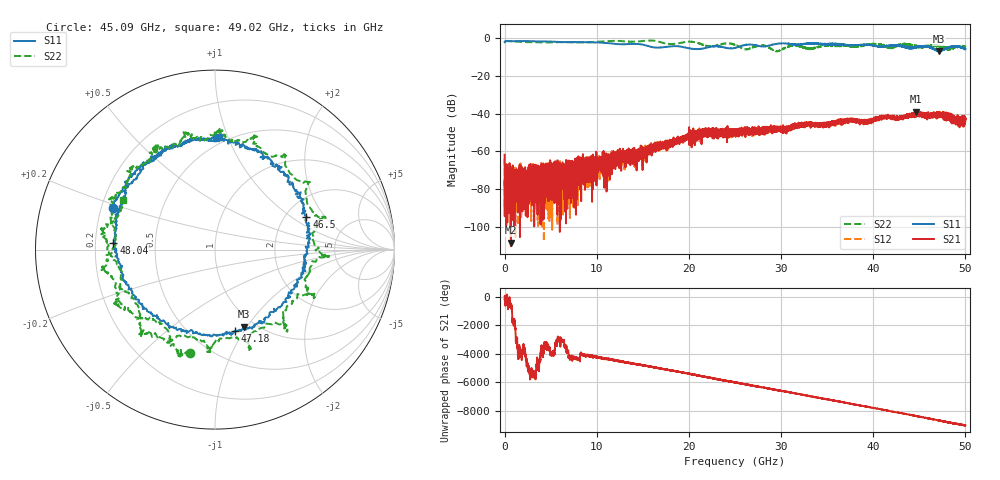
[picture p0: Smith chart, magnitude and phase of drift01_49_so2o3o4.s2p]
!Created with skrf (http://scikit-rf.org).
# Hz S RI R 50.0
!freq ReS11 ImS11 ReS21 ImS21 ReS12 ImS12 ReS22 ImS22
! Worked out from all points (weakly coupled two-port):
!   10001 points, 300 kHz to 50 GHz, reference 50 ohm
!   highest |S21| = -38.84 dB at 44.63 GHz (marker M1); lowest = -108.4 dB at 695.3 MHz (marker M2)
!   lowest |S11| = -6.8 dB at 47.15 GHz (marker M3), VSWR 2.69, Z = 44.5 - j48.3 ohm
!   |S11| at or under -10 dB: nowhere
!   |S22| runs from -6.9 to -1.1 dB; largest |S21 - S12| = 0.0037
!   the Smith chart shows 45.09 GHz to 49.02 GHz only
!   S11 on the Smith chart (normalised r, x): 45.09 GHz: 0.25, +0.19; 46.5 GHz: 2.58, +1.34; 47.18 GHz: 0.78, -0.91; 48.04 GHz: 0.28, +0.03; 49.02 GHz: 0.45, +0.93
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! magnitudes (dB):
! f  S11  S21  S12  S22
! 300 kHz  -2.0  -61.7  -63.6  -1.3
! 260.3 MHz  -1.4  -90.0  -89.5  -1.4
! 695.3 MHz  -1.5  -108.4  -72.2  -1.5
! 6.455 GHz  -1.9  -67.4  -67.4  -1.9
! 8.335 GHz  -2.0  -75.8  -73.3  -2.1
! 16.67 GHz  -4.9  -59.5  -56.4  -1.6
! 21.63 GHz  -5.2  -50.1  -49.9  -3.5
! 25 GHz  -5.0  -49.2  -49.8  -3.4
! 26.18 GHz  -3.3  -49.7  -48.1  -5.7
! 28.13 GHz  -4.3  -47.9  -48.7  -3.9
! 29.51 GHz  -2.8  -48.8  -48.2  -6.7
! 31.26 GHz  -3.1  -46.8  -47.6  -4.0
! 33.34 GHz  -2.6  -46.3  -45.3  -5.6
! 41.67 GHz  -3.9  -41.4  -41.6  -4.6
! 44.63 GHz  -4.4  -38.8  -40.6  -3.9
! 45.09 GHz  -4.2  -40.3  -40.2  -4.6
! 46.5 GHz  -5.3  -41.2  -40.1  -4.0
! 47.15 GHz  -6.8  -40.8  -39.9  -4.0
! 47.18 GHz  -6.6  -41.8  -40.8  -4.5
! 48.04 GHz  -4.9  -40.7  -40.6  -6.0
! 49.02 GHz  -4.0  -45.1  -42.6  -4.7
! 50 GHz  -5.7  -42.6  -44.8  -4.2
